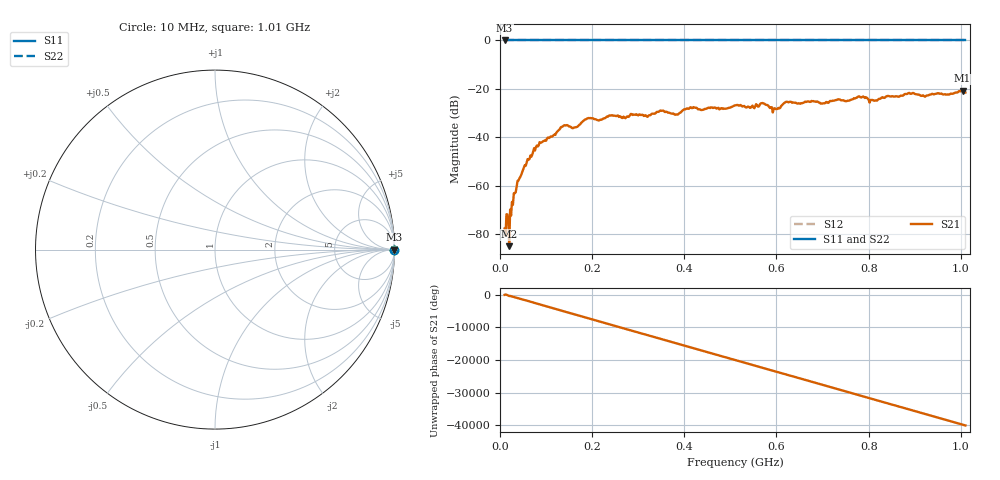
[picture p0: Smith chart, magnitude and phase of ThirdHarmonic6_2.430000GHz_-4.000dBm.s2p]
! 8/17/2025 4:12:06 AM
! C:\ANRITSUVNA\TEMP\TEMP.S2P
! CHANNEL.1
! TR.MEASUREMENT
! RAW.DATA
! RF.CORRECTION.OFF
! AVERAGING.OFF
! IF.BANDWIDTH: 5KHZ
! SWEEPTYPE:  FREQ.SWEEP(Linear)
! Reference Plane Port Info
! PORT:  PORT1  PORT2
! DISTANCE:  0  m  0  m
! TIME:  0  s  0  s
! PHASE.OFFSET:  0  deg.  0  deg.
! LOSS:  0  dB  0  dB
! REF.LOSS:  0  dB  0  dB
! REF.FREQ:  0  Hz  0  Hz
! Power Info
! POWER:  -20  dBm  -20  dBm
! EFF.POWER:  -20  dBm  -20  dBm
! SOURCE.ATTEN:  0  dB  0  dB
! TEST.ATTEN:  0  dB  0  dB
# GHZ S RI R 50.0
! FREQ.GHZ  S11RE  S11IM  S21RE  S21IM  S12RE  S12IM  S22RE  S22IM
!; PortSelection: Port_12
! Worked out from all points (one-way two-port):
!   501 points, 10 MHz to 1.01 GHz, reference 50 ohm
!   highest |S21| = -20.78 dB at 1.004 GHz (marker M1); lowest = -85.1 dB at 20 MHz (marker M2)
!   lowest |S11| = 0.0 dB at 10 MHz (marker M3)
!   |S11| at or under -10 dB: nowhere
!   |S22| runs from 0.0 to 0.0 dB; largest |S21 - S12| = 1.1
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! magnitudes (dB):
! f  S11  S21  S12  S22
! 10 MHz  0.0  -77.8  0.0  0.0
! 20 MHz  0.0  -85.1  0.0  0.0
! 40 MHz  0.0  -58.0  0.0  0.0
! 76 MHz  0.0  -45.5  0.0  0.0
! 136 MHz  0.0  -35.6  0.0  0.0
! 162 MHz  0.0  -36.0  0.0  0.0
! 178 MHz  0.0  -33.8  0.0  0.0
! 194 MHz  0.0  -32.1  0.0  0.0
! 344 MHz  0.0  -29.5  0.0  0.0
! 382 MHz  0.0  -30.6  0.0  0.0
! 416 MHz  0.0  -28.0  0.0  0.0
! 510 MHz  0.0  -26.9  0.0  0.0
! 570 MHz  0.0  -25.9  0.0  0.0
! 596 MHz  0.0  -28.0  0.0  0.0
! 620 MHz  0.0  -25.4  0.0  0.0
! 678 MHz  0.0  -25.1  0.0  0.0
! 700 MHz  0.0  -26.0  0.0  0.0
! 780 MHz  0.0  -23.2  0.0  0.0
! 814 MHz  0.0  -24.9  0.0  0.0
! 844 MHz  0.0  -23.0  0.0  0.0
! 1.004 GHz  0.0  -20.8  0.0  0.0
! 1.01 GHz  0.0  -21.5  0.0  0.0
